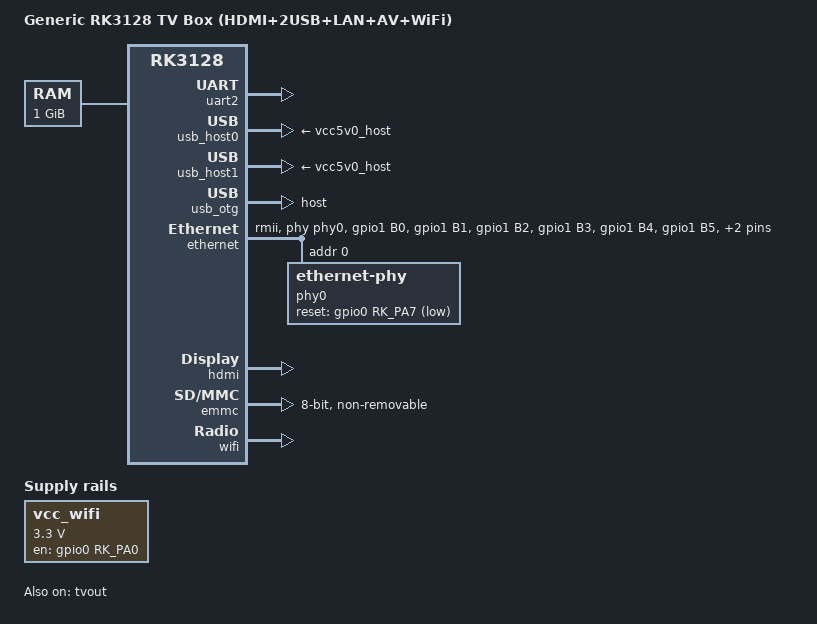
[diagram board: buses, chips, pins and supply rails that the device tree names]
/dts-v1/;
#include "rk3128.dtsi"

/ {
	model = "Generic RK3128 TV Box (HDMI+2USB+LAN+AV+WiFi)";
	compatible = "rockchip,rk3128-tvbox", "rockchip,rk3128";

	memory@60000000 {
		device_type = "memory";
		reg = <0x60000000 0x40000000>; /* 1GB内存 */
	};

	chosen {
		bootargs = "console=ttyS2,115200n8 root=/dev/mmcblk0p2 rw rootwait earlyprintk init=/init coherent_pool=1M";
		stdout-path = "serial2:115200n8";
	};

	aliases {
		serial0 = &uart2;
		ethernet0 = &ethernet;
		wifi0 = &wifi;
	};

	/* WiFi电源管理 */
	vcc_wifi: vcc-wifi-regulator {
		compatible = "regulator-fixed";
		regulator-name = "vcc_wifi";
		regulator-min-microvolt = <3300000>;
		regulator-max-microvolt = <3300000>;
		gpio = <&gpio0 RK_PA0 GPIO_ACTIVE_HIGH>;
		enable-active-high;
	};
};

/* 串口调试口 */
&uart2 {
	status = "okay";
	pinctrl-names = "default";
	pinctrl-0 = <&uart2_xfer>;
};

/* USB HOST 0 */
&usb_host0 {
	status = "okay";
	phy-supply = <&vcc5v0_host>;
};

/* USB HOST 1（打印机优先） */
&usb_host1 {
	status = "okay";
	phy-supply = <&vcc5v0_host>;
};

/* USB OTG */
&usb_otg {
	status = "okay";
	dr_mode = "host";
};

/* 5V电源 */
&vcc5v0_host {
	regulator-always-on;
	regulator-boot-on;
	status = "okay";
};

/* 百兆网口 */
&ethernet {
	status = "okay";
	phy-mode = "rmii";
	pinctrl-names = "default";
	pinctrl-0 = <&rmii_pins>;
	phy-handle = <&phy0>;
	phy0: ethernet-phy@0 {
		reg = <0>;
		reset-gpios = <&gpio0 RK_PA7 GPIO_ACTIVE_LOW>;
	};
};

/* 网口引脚 */
&pinctrl {
	rmii_pins: rmii-pins {
		rockchip,pins =
			<1 RK_PB0 RK_FUNC_1 &pcfg_pull_none>,
			<1 RK_PB1 RK_FUNC_1 &pcfg_pull_none>,
			<1 RK_PB2 RK_FUNC_1 &pcfg_pull_none>,
			<1 RK_PB3 RK_FUNC_1 &pcfg_pull_none>,
			<1 RK_PB4 RK_FUNC_1 &pcfg_pull_none>,
			<1 RK_PB5 RK_FUNC_1 &pcfg_pull_none>,
			<1 RK_PB6 RK_FUNC_1 &pcfg_pull_none>,
			<1 RK_PB7 RK_FUNC_1 &pcfg_pull_none>;
	};
};

/* HDMI接口 */
&hdmi {
	status = "okay";
};

/* AV复合接口 */
&tvout {
	status = "okay";
};

/* EMMC闪存 */
&emmc {
	status = "okay";
	bus-width = <8>;
	cap-mmc-highspeed;
	mmc-hs200-1_8v;
	non-removable;
};

/* WiFi模块（AP6212/AP6210 双频/单频通用） */
&wifi {
	compatible = "brcm,bcm43438";
	reg = <0>;
	interrupt-parent = <&gpio0>;
	interrupts = <RK_PA1 IRQ_TYPE_LEVEL_HIGH>;
	clocks = <&clk_gates6 14>;
	clock-names = "extclk";
	brcm,board-type = "AP6212";
	vddio-supply = <&vcc_wifi>;
	vddcore-supply = <&vcc_wifi>;
	status = "okay";
};
